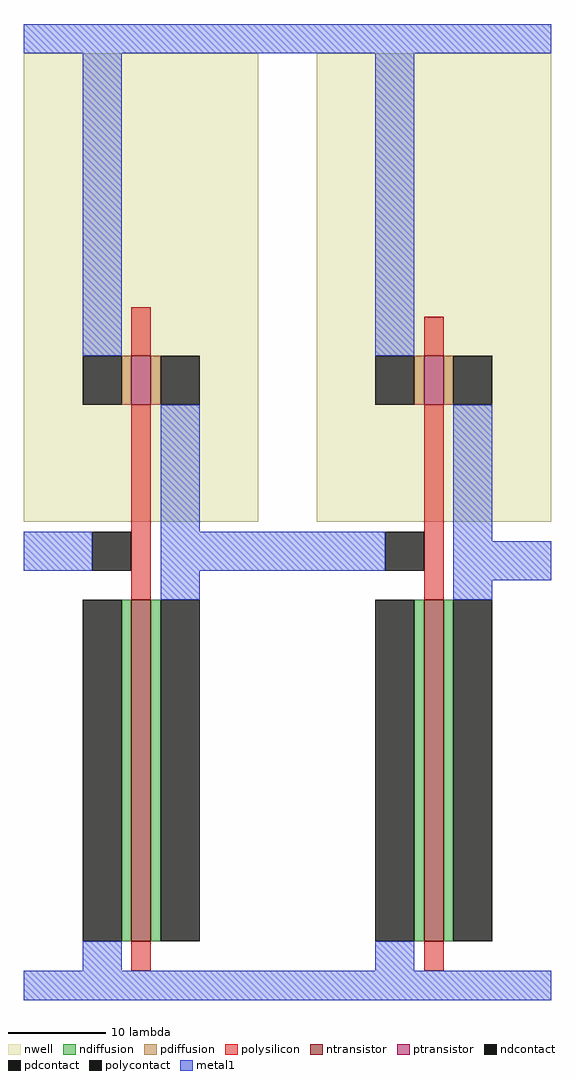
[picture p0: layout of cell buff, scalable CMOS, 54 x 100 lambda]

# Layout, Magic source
magic
tech scmos
<< nwell >>
rect 0 0 24 48
rect 30 0 54 48
<< ntransistor >>
rect 11 -43 13 -8
rect 41 -43 43 -8
<< ptransistor >>
rect 11 12 13 17
rect 41 12 43 17
<< ndiffusion >>
rect 10 -43 11 -8
rect 13 -43 14 -8
rect 40 -43 41 -8
rect 43 -43 44 -8
<< pdiffusion >>
rect 10 12 11 17
rect 13 12 14 17
rect 40 12 41 17
rect 43 12 44 17
<< ndcontact >>
rect 6 -43 10 -8
rect 14 -43 18 -8
rect 36 -43 40 -8
rect 44 -43 48 -8
<< pdcontact >>
rect 6 12 10 17
rect 14 12 18 17
rect 36 12 40 17
rect 44 12 48 17
<< polysilicon >>
rect 11 17 13 22
rect 41 17 43 21
rect 11 -8 13 12
rect 41 -8 43 12
rect 11 -46 13 -43
rect 41 -46 43 -43
<< polycontact >>
rect 7 -5 11 -1
rect 37 -5 41 -1
<< metal1 >>
rect 0 48 54 51
rect 6 17 10 48
rect 36 17 40 48
rect 14 -1 18 12
rect 0 -5 7 -1
rect 14 -5 37 -1
rect 44 -2 48 12
rect 14 -8 18 -5
rect 44 -6 54 -2
rect 44 -8 48 -6
rect 6 -46 10 -43
rect 36 -46 40 -43
rect 0 -49 54 -46
<< end >>
